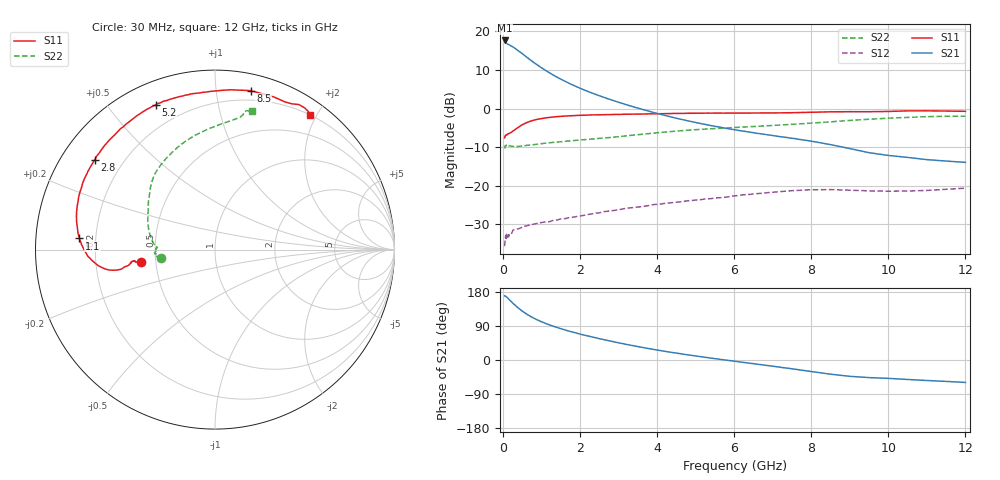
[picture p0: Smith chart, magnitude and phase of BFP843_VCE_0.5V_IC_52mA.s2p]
! Infineon Technologies  Discrete & RF Semiconductors
! BFP843
! VCE =  0.5 V,  IC =  52 mA
! Common Emitter S-Parameters:  Aug 2013
# GHz  S  MA  R  50
!  f  S11  S21  S12  S22
! GHz  MAG  ANG  MAG  ANG  MAG  ANG  MAG  ANG
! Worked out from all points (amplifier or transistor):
!   103 points, 30 MHz to 12 GHz, reference 50 ohm
!   highest |S21| = 17.6 dB at 30 MHz (marker M1)
!   |S21| within 3 dB of that: start of sweep to 430.5 MHz
!   unconditionally stable (mu >= 1): start of sweep to end of sweep
!   at 400 MHz: K = 2.17, MAG = 16.9 dB, |S12| = -31.1 dB
!   at 3.7 GHz: K = 2.39, MAG = 5.8 dB, |S12| = -25.2 dB
!   at 12 GHz: K = 2.07, MAG = -2.6 dB, |S12| = -20.6 dB
!   S11 on the Smith chart (normalised r, x): 30 MHz: 0.41, -0.07; 1.1 GHz: 0.14, +0.04; 2.8 GHz: 0.10, +0.33; 5.2 GHz: 0.10, +0.67; 8.5 GHz: 0.12, +1.24; 12 GHz: 0.19, +1.91
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0.03  0.4189 -170.2  7.627 169.2  0.0165 30.7  0.3033 -170.9
0.04  0.4351 -171.1  7.369 168.4  0.0189 19.6  0.3173 -172.5
0.05  0.4474 -171.0  7.236 168.9  0.0217 16.0  0.3325 -174.0
0.07  0.4528 -171.8  7.003 167.3  0.0207 18.9  0.332 -176.5
0.13  0.4732 -171.1  6.784 161.7  0.0218 12.3  0.3342 179.7
0.25  0.5123 -169.2  6.274 149.3  0.0267 19.1  0.324 178.4
0.35  0.5563 -168.2  5.776 140.2  0.0275 17.5  0.3229 177.4
0.45  0.6012 -169.1  5.315 132.1  0.0284 17.0  0.3264 177.5
0.6  0.6572 -172.2  4.652 121.4  0.0302 18.2  0.3336 176.3
0.7  0.6861 -174.8  4.265 115.2  0.0312 18.8  0.3374 175.6
0.9  0.7288 -179.9  3.611 104.9  0.0327 19.5  0.347 173.4
1.1  0.7582 175.3  3.106 96.3  0.034 20.2  0.3565 171.3
1.3  0.7774 170.7  2.705 88.9  0.0357 21.2  0.365 169.2
1.5  0.7935 166.6  2.388 82.4  0.0374 21.7  0.3724 167.1
2.1  0.8201 155.1  1.739 65.6  0.0415 23.0  0.3956 160.2
2.8  0.8363 143.3  1.296 49.5  0.0474 22.1  0.4232 151.9
4.1  0.8577 124.0  0.838 24.5  0.0581 18.3  0.4915 137.3
5.2  0.8722 112.2  0.629 7.7  0.0671 13.7  0.5405 128.0
6.1  0.8744 104.5  0.522 -4.6  0.0745 8.8  0.5716 119.3
8.5  0.9078 77.4  0.341 -37.5  0.0892 -12.3  0.6735 93.1
10.5  0.9337 59.9  0.233 -51.4  0.0855 -22.1  0.7682 78.2
12  0.9209 54.8  0.201 -59.2  0.0931 -28.4  0.7968 75.1
